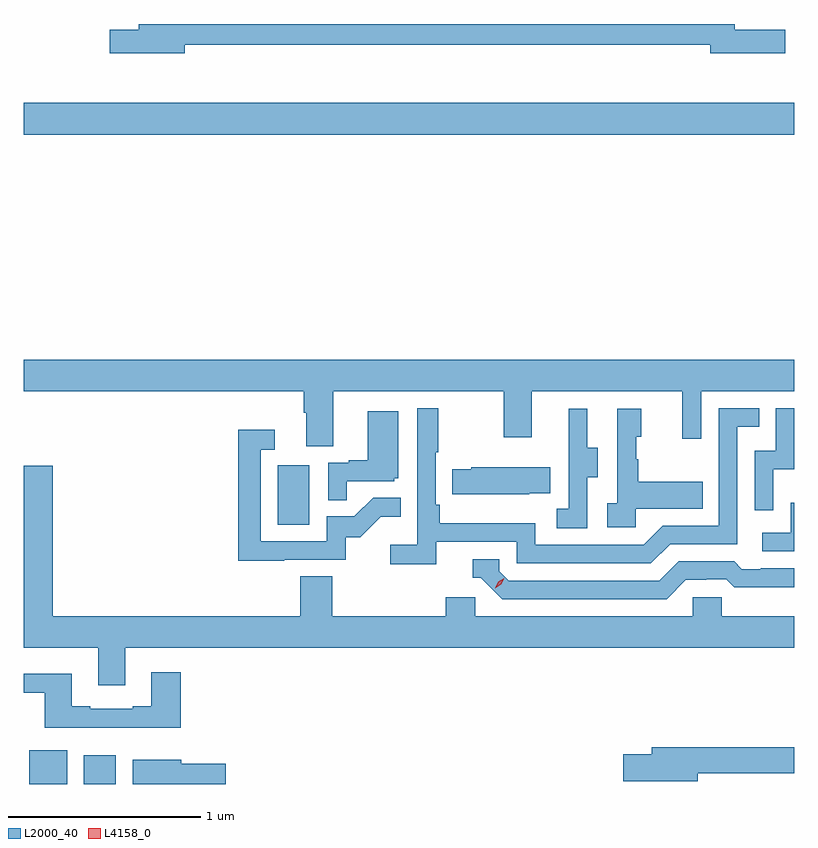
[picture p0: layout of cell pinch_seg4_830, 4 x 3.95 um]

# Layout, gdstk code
import gdstk
lib = gdstk.Library(unit=1e-6, precision=1e-09)
def R(c, l, rs):  # rectangles x0, y0, x1, y1
    for r in rs: c.add(gdstk.rectangle(r[:2], r[2:], *l))
def P(c, l, *ps):  # polygons
    for p in ps: c.add(gdstk.Polygon(p, *l))
L2000_40 = (2000, 40)
L4158_0 = (4158, 0)

pinch_seg4_830 = lib.new_cell('pinch_seg4_830')
R(pinch_seg4_830, L2000_40, [(839.576,806.769,839.773,806.944), (839.858,806.769,840.025,806.917), (840.866,808.116,841.03,808.423), (839.547,810.14,843.547,810.304)])
P(pinch_seg4_830, L2000_40, [(840.382,810.606),(843.11,810.606),(843.11,810.563),(843.499,810.563),(843.499,810.685),(843.238,810.685),(843.238,810.714),(840.143,810.714),(840.143,810.685),(839.994,810.685),(839.994,810.563),(840.382,810.563)],
  [(841.153,808.808),(842.038,808.808),(842.038,808.569),(842.185,808.569),(842.185,808.808),(842.966,808.808),(842.966,808.56),(843.063,808.56),(843.063,808.808),(843.547,808.808),(843.547,808.972),(839.547,808.972),(839.547,808.808),(841.001,808.808),(841.001,808.696),(841.013,808.696),(841.013,808.522),(841.153,808.522)],
  [(841.688,808.026),(842.106,808.026),(842.106,807.915),(842.803,807.915),(842.902,808.014),(843.252,808.014),(843.252,808.623),(843.365,808.623),(843.365,808.719),(843.156,808.719),(843.156,808.11),(842.865,808.11),(842.766,808.011),(842.202,808.011),(842.202,808.123),(841.706,808.123),(841.706,808.219),(841.686,808.219),(841.686,808.492),(841.699,808.492),(841.699,808.72),(841.59,808.72),(841.59,808.012),(841.449,808.012),(841.449,807.91),(841.688,807.91)],
  [(843.438,808.403),(843.547,808.403),(843.547,808.719),(843.45,808.719),(843.45,808.5),(843.342,808.5),(843.342,808.191),(843.438,808.191)],
  [(842.472,808.36),(842.527,808.36),(842.527,808.515),(842.473,808.515),(842.473,808.717),(842.375,808.717),(842.375,808.503),(842.376,808.503),(842.376,808.199),(842.313,808.199),(842.313,808.096),(842.472,808.096)],
  [(842.724,808.199),(843.071,808.199),(843.071,808.339),(842.737,808.339),(842.737,808.454),(842.727,808.454),(842.727,808.572),(842.752,808.572),(842.752,808.717),(842.628,808.717),(842.628,808.226),(842.577,808.226),(842.577,808.101),(842.724,808.101)],
  [(841.223,808.341),(841.47,808.341),(841.47,808.356),(841.492,808.356),(841.492,808.705),(841.334,808.705),(841.334,808.45),(841.235,808.45),(841.235,808.437),(841.128,808.437),(841.128,808.243),(841.223,808.243)],
  [(840.899,807.933),(841.218,807.933),(841.218,808.05),(841.294,808.05),(841.401,808.157),(841.505,808.157),(841.505,808.256),(841.361,808.256),(841.263,808.158),(841.119,808.158),(841.119,808.029),(840.777,808.029),(840.777,808.503),(840.85,808.503),(840.85,808.609),(840.661,808.609),(840.661,807.928),(840.899,807.928)],
  [(840.073,807.476),(843.547,807.476),(843.547,807.64),(843.171,807.64),(843.171,807.738),(843.021,807.738),(843.021,807.64),(841.89,807.64),(841.89,807.738),(841.739,807.738),(841.739,807.64),(841.148,807.64),(841.148,807.848),(840.983,807.848),(840.983,807.64),(839.699,807.64),(839.699,808.42),(839.547,808.42),(839.547,807.476),(839.933,807.476),(839.933,807.282),(840.073,807.282)],
  [(842.171,808.277),(842.279,808.277),(842.279,808.414),(841.869,808.414),(841.869,808.404),(841.771,808.404),(841.771,808.274),(842.171,808.274)],
  [(843.547,808.228),(843.528,808.228),(843.528,808.074),(843.381,808.074),(843.381,807.978),(843.547,807.978)],
  [(842.983,807.828),(843.09,807.828),(843.09,807.831),(843.193,807.831),(843.235,807.789),(843.468,807.789),(843.468,807.791),(843.547,807.791),(843.547,807.888),(843.373,807.888),(843.373,807.885),(843.274,807.885),(843.235,807.924),(842.946,807.924),(842.847,807.825),(842.064,807.825),(842.016,807.873),(842.016,807.936),(841.877,807.936),(841.877,807.84),(841.92,807.84),(842.031,807.729),(842.884,807.729)],
  [(840.362,807.349),(840.209,807.349),(840.209,807.172),(840.113,807.172),(840.113,807.159),(839.893,807.159),(839.893,807.172),(839.797,807.172),(839.797,807.34),(839.547,807.34),(839.547,807.243),(839.657,807.243),(839.657,807.062),(840.362,807.062)],
  [(843.046,806.824),(843.547,806.824),(843.547,806.96),(842.807,806.96),(842.807,806.924),(842.658,806.924),(842.658,806.782),(843.046,806.782)],
  [(840.595,806.873),(840.364,806.873),(840.364,806.896),(840.113,806.896),(840.113,806.769),(840.595,806.769)])
P(pinch_seg4_830, L4158_0, [(841.994,807.786),(841.994,807.786),(842.01,807.819),(842.041,807.838),(842.042,807.838),(842.042,807.837),(842.025,807.805),(841.994,807.786)])

lib.write_gds('pinch_seg4_830.gds')
